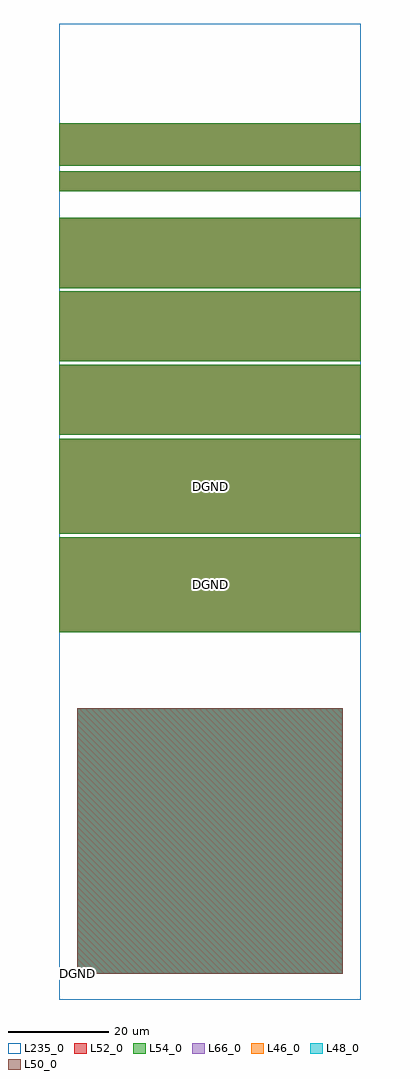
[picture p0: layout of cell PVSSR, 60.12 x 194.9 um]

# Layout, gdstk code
import gdstk
lib = gdstk.Library(unit=1e-6, precision=1e-09)
def R(c, l, rs):  # rectangles x0, y0, x1, y1
    for r in rs: c.add(gdstk.rectangle(r[:2], r[2:], *l))
L46_0 = (46, 0)
L48_0 = (48, 0)
L50_0 = (50, 0)
L52_0 = (52, 0)
L54_0 = (54, 0)
L66_0 = (66, 0)
L235_0 = (235, 0)

pvssr = lib.new_cell('PVSSR')
R(pvssr, L46_0, [(3.56,5.18,56.56,58.18)])
R(pvssr, L48_0, [(3.56,5.18,56.56,58.18)])
R(pvssr, L50_0, [(3.56,5.18,56.56,58.18)])
R(pvssr, L52_0, [(3.56,5.18,56.56,58.18), (0,73.3,60.12,92.3), (0,92.99,60.12,111.99), (0,112.79,60.12,126.79), (0,127.44,60.12,141.44), (0,142.08,60.12,156.08), (0,161.39,60.12,165.39), (0,166.47,60.12,174.97)])
R(pvssr, L54_0, [(3.56,5.18,56.56,58.18), (0,73.3,60.12,92.3), (0,92.99,60.12,111.99), (0,112.79,60.12,126.79), (0,127.44,60.12,141.44), (0,142.08,60.12,156.08), (0,161.39,60.12,165.39), (0,166.47,60.12,174.97)])
R(pvssr, L66_0, [(3.56,5.18,56.56,58.18)])
R(pvssr, L235_0, [(0,0,60.12,194.9)])
pvssr.add(gdstk.Label('DGND', (3.56,5.18), layer=101, texttype=0))
pvssr.add(gdstk.Label('DGND', (3.56,5.18), layer=102, texttype=0))
pvssr.add(gdstk.Label('DGND', (3.56,5.18), layer=103, texttype=0))
pvssr.add(gdstk.Label('DGND', (30.06,82.8), layer=104, texttype=0))
pvssr.add(gdstk.Label('DGND', (30.06,102.49), layer=104, texttype=0))
pvssr.add(gdstk.Label('DGND', (3.56,5.18), layer=104, texttype=0))
pvssr.add(gdstk.Label('DGND', (30.06,82.8), layer=105, texttype=0))
pvssr.add(gdstk.Label('DGND', (30.06,102.49), layer=105, texttype=0))
pvssr.add(gdstk.Label('DGND', (3.56,5.18), layer=105, texttype=0))

lib.write_gds('PVSSR.gds')
